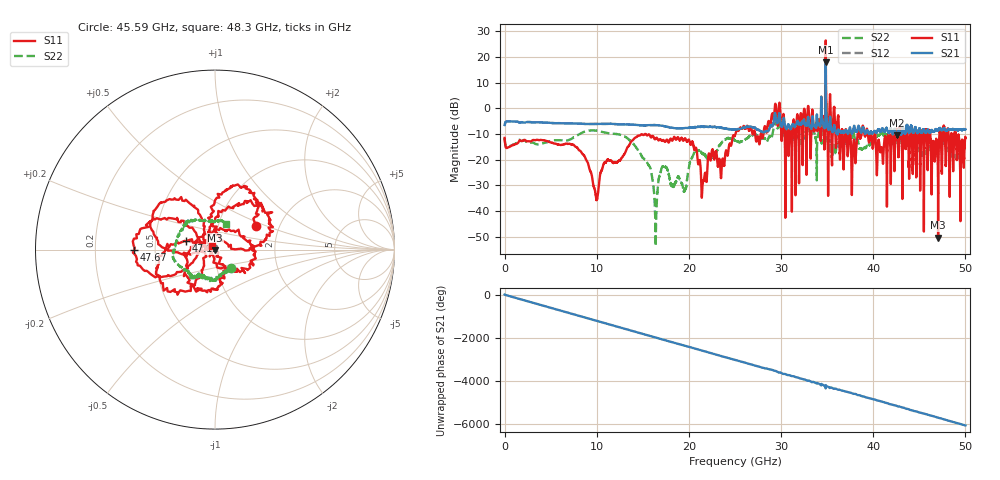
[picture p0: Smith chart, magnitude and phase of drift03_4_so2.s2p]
!Created with skrf (http://scikit-rf.org).
# Hz S RI R 50.0
!freq ReS11 ImS11 ReS21 ImS21 ReS12 ImS12 ReS22 ImS22
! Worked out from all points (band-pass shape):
!   10001 points, 300 kHz to 50 GHz, reference 50 ohm
!   highest |S21| = 17.96 dB at 34.85 GHz (marker M1); lowest = -10.4 dB at 42.56 GHz (marker M2)
!   |S21| within 3 dB of the highest: 34.84197 GHz to 34.84831 GHz (6.34 MHz wide, 0.0182 % of centre)
!   lowest |S11| = -50.4 dB at 47.04 GHz (marker M3), VSWR 1.01, Z = 50 - j0.3 ohm
!   |S11| at or under -10 dB: start of sweep to 15.22 GHz; 15.32 GHz to 25.05 GHz (9.736 GHz wide, 48.2 % of centre); 40.21 GHz to 41.68 GHz (1.469 GHz wide, 3.59 % of centre) (the widest 3 of 61)
!   |S22| runs from -53.7 to 9.6 dB; largest |S21 - S12| = 1.2
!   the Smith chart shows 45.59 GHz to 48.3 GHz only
!   S11 on the Smith chart (normalised r, x): 45.59 GHz: 1.53, +0.42; 47.12 GHz: 0.72, +0.07; 47.67 GHz: 0.38, -0.00; 48.3 GHz: 0.97, +0.03
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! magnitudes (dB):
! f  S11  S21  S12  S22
! 300 kHz  -11.5  -6.5  -6.5  -11.5
! 8.335 GHz  -17.1  -6.0  -6.0  -9.6
! 9.955 GHz  -35.5  -6.1  -6.1  -8.7
! 11 GHz  -20.9  -6.1  -6.1  -9.5
! 16.67 GHz  -12.4  -6.5  -6.5  -29.1
! 17.32 GHz  -12.6  -6.9  -7.0  -22.8
! 19.53 GHz  -11.8  -7.7  -7.7  -32.1
! 20.21 GHz  -14.0  -7.5  -7.5  -20.0
! 21.55 GHz  -28.2  -7.2  -7.2  -17.6
! 25 GHz  -10.6  -8.3  -8.3  -12.5
! 33.34 GHz  -3.8  -6.9  -6.9  -9.5
! 34.85 GHz  26.5  18.0  17.9  9.6
! 37.86 GHz  -13.2  -7.7  -7.7  -9.4
! 39.04 GHz  -10.1  -9.0  -9.2  -15.3
! 41.67 GHz  -10.2  -9.5  -9.5  -11.4
! 42.56 GHz  -8.4  -10.4  -10.6  -13.1
! 45.59 GHz  -11.6  -8.9  -9.0  -17.3
! 47.04 GHz  -50.4  -8.5  -8.5  -12.7
! 47.12 GHz  -15.4  -8.1  -8.2  -12.5
! 47.67 GHz  -6.9  -7.7  -7.7  -13.0
! 48.3 GHz  -32.2  -8.3  -8.3  -16.2
! 50 GHz  -11.3  -8.2  -8.2  -15.4
